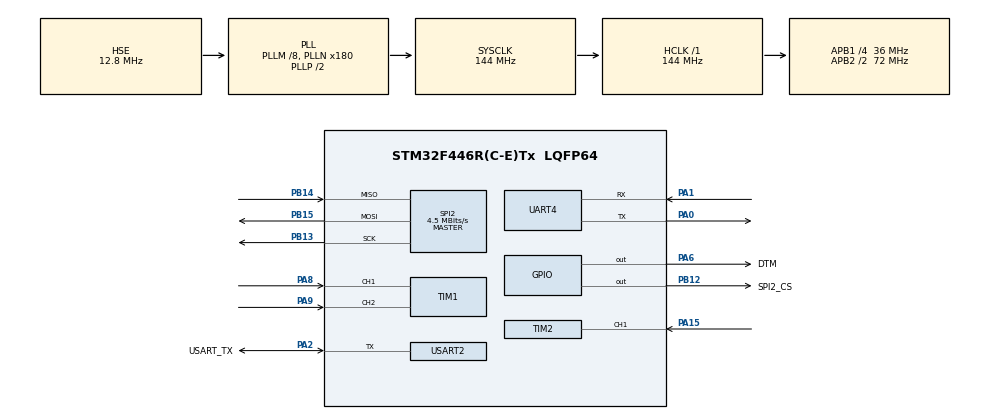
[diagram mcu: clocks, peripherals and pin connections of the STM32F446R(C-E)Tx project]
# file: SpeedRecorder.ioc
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Dma.Request0=TIM2_CH1
Dma.TIM2_CH1.0.Direction=DMA_PERIPH_TO_MEMORY
Dma.TIM2_CH1.0.FIFOMode=DMA_FIFOMODE_DISABLE
Dma.TIM2_CH1.0.Instance=DMA1_Stream5
Dma.TIM2_CH1.0.MemDataAlignment=DMA_MDATAALIGN_WORD
Dma.TIM2_CH1.0.MemInc=DMA_MINC_ENABLE
Dma.TIM2_CH1.0.Mode=DMA_CIRCULAR
Dma.TIM2_CH1.0.PeriphDataAlignment=DMA_PDATAALIGN_WORD
Dma.TIM2_CH1.0.PeriphInc=DMA_PINC_DISABLE
Dma.TIM2_CH1.0.Priority=DMA_PRIORITY_HIGH
Mcu.Family=STM32F4
Mcu.Name=STM32F446R(C-E)Tx
Mcu.Package=LQFP64
NVIC.PriorityGroup=NVIC_PRIORITYGROUP_0
NVIC.TIM1_CC_IRQn=true\:0\:0\:false\:false\:true\:true\:true\:true
NVIC.UART4_IRQn=true\:0\:0\:false\:false\:true\:true\:true\:true
PA0-WKUP.Mode=Asynchronous
PA0-WKUP.Signal=UART4_TX
PA1.Mode=Asynchronous
PA1.Signal=UART4_RX
PA13.GPIO_Label=TMS
PA13.Mode=Serial_Wire
PA13.Signal=SYS_JTMS-SWDIO
PA14.GPIO_Label=TCK
PA14.Mode=Serial_Wire
PA14.Signal=SYS_JTCK-SWCLK
PA15.Signal=S_TIM2_CH1_ETR
PA2.GPIO_Label=USART_TX
PA2.GPIO_PuPd=GPIO_NOPULL
PA2.Mode=Half_duplex(single_wire_mode)
PA2.Signal=USART2_TX
PA3.GPIO_Label=USART_RX
PA3.Signal=USART2_RX
PA6.GPIO_Label=DTM
PA6.Signal=GPIO_Output
PA8.Signal=S_TIM1_CH1
PA9.Signal=S_TIM1_CH2
PB12.GPIO_Label=SPI2_CS
PB12.PinState=GPIO_PIN_SET
PB12.Signal=GPIO_Output
PB13.GPIO_PuPd=GPIO_PULLUP
PB13.GPIO_Speed=GPIO_SPEED_FREQ_VERY_HIGH
PB13.Mode=Full_Duplex_Master
PB13.Signal=SPI2_SCK
PB14.GPIO_PuPd=GPIO_NOPULL
PB14.GPIO_Speed=GPIO_SPEED_FREQ_VERY_HIGH
PB14.Mode=Full_Duplex_Master
PB14.Signal=SPI2_MISO
PB15.GPIO_Speed=GPIO_SPEED_FREQ_VERY_HIGH
PB15.Mode=Full_Duplex_Master
PB15.Signal=SPI2_MOSI
PB3.GPIO_Label=SWO
PB3.Signal=SYS_JTDO-SWO
PH0-OSC_IN.Mode=HSE-External-Clock-Source
PH0-OSC_IN.Signal=RCC_OSC_IN
PH1-OSC_OUT.Mode=HSE-External-Clock-Source
PH1-OSC_OUT.Signal=RCC_OSC_OUT
ProjectManager.HeapSize=0x200
ProjectManager.StackSize=0x400
ProjectManager.TargetToolchain=STM32CubeIDE
RCC.48MHZClocksFreq_Value=84000000
RCC.AHBFreq_Value=144000000
RCC.APB1CLKDivider=RCC_HCLK_DIV4
RCC.APB1Freq_Value=36000000
RCC.APB1TimFreq_Value=72000000
RCC.APB2CLKDivider=RCC_HCLK_DIV2
RCC.APB2Freq_Value=72000000
RCC.APB2TimFreq_Value=144000000
RCC.CortexFreq_Value=144000000
RCC.FLatency-AdvancedSettings=FLASH_LATENCY_4
RCC.HCLKFreq_Value=144000000
RCC.HSE_VALUE=12800000
RCC.HSI_VALUE=16000000
RCC.PLLM=8
RCC.PLLN=180
RCC.PLLSourceVirtual=RCC_PLLSOURCE_HSE
RCC.SYSCLKFreq_VALUE=144000000
RCC.SYSCLKSource=RCC_SYSCLKSOURCE_PLLCLK
RCC.USBFreq_Value=144000000
RCC.VCOOutputFreq_Value=288000000
SH.S_TIM1_CH1.0=TIM1_CH1,Input_Capture1_from_TI1
SH.S_TIM1_CH2.0=TIM1_CH2,Input_Capture2_from_TI2
SH.S_TIM2_CH1_ETR.0=TIM2_CH1,Input_Capture1_from_TI1
SH.S_TIM2_CH1_ETR.1=TIM2_CH1,TriggerSource_TI1FP1
SPI2.BaudRatePrescaler=SPI_BAUDRATEPRESCALER_8
SPI2.CLKPhase=SPI_PHASE_2EDGE
SPI2.CLKPolarity=SPI_POLARITY_HIGH
SPI2.CalculateBaudRate=4.5 MBits/s
SPI2.DataSize=SPI_DATASIZE_8BIT
SPI2.Direction=SPI_DIRECTION_2LINES
SPI2.FirstBit=SPI_FIRSTBIT_MSB
SPI2.Mode=SPI_MODE_MASTER
SPI2.VirtualType=VM_MASTER
TIM1.Channel-Input_Capture1_from_TI1=TIM_CHANNEL_1
TIM1.Channel-Input_Capture2_from_TI2=TIM_CHANNEL_2
TIM2.Channel-Input_Capture1_from_TI1=TIM_CHANNEL_1
TIM2.ICFilter_CH1=0
TIM2.ICPrescaler-Input_Capture1_from_TI1=TIM_ICPSC_DIV1
TIM2.Prescaler=0
UART4.Parity=PARITY_EVEN
UART4.VirtualMode=Asynchronous
UART4.WordLength=WORDLENGTH_9B
USART2.VirtualMode=VM_ASYNC
VP_TIM2_VS_ClockSourceINT.Mode=Internal
VP_TIM2_VS_ControllerModeReset.Mode=Reset Mode
board=NUCLEO-F446RE

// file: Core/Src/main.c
/* USER CODE BEGIN Header */
/**
  ******************************************************************************
  * @file           : main.c
  * @brief          : Takes an input frequency, calculates and records a speed from the frequency, outputs the speed to through UART.
  ******************************************************************************
  * @attention
  *
  * Copyright (c) 2025 STMicroelectronics.
  * All rights reserved.
  *
  * This software is licensed under terms that can be found in the LICENSE file
  * in the root directory of this software component.
  * If no LICENSE file comes with this software, it is provided AS-IS.
  *
  ******************************************************************************
  */
/* USER CODE END Header */
#include "main.h"

/* USER CODE BEGIN Includes */

#include <stdio.h>
/* USER CODE END Includes */

/* USER CODE BEGIN PTD */

//every successive array element is 100ms after the last
uint8_t pastSpeed[36000];

typedef struct{
    char command;

    float curSpeed;
    uint8_t temperature;
    float xyz[3];
    float frequencyMeasured;

    //increment every 100ms
     uint32_t time;
     uint32_t startTime;

}data;

typedef struct{
	//command, datatype, data, checksusm
	uint8_t tx_buff[9];// = {'C', 'D', '1', '2', '3', '4', '5', '6', 'S'};

}message;
/* USER CODE END PTD */

/* USER CODE BEGIN PD */

#define NUMB_CAPTURES 1

#define WAVELENGTH 0.01249135242f
/* USER CODE END PD */

/* USER CODE BEGIN PM */
//#define TIMER_FREQUENCY (HAL_RCC_GetPCLK1Freq()/TIM2->)

/* USER CODE END PM */

SPI_HandleTypeDef hspi2;

TIM_HandleTypeDef htim1;
TIM_HandleTypeDef htim2;
DMA_HandleTypeDef hdma_tim2_ch1;

UART_HandleTypeDef huart4;
UART_HandleTypeDef huart2;

/* USER CODE BEGIN PV */
uint32_t capture[NUMB_CAPTURES];

uint32_t TIMER_FREQUENCY;

float MULTIPLIER = -0.0516;

float avgFrequency;

float meterPerSecond;
uint8_t direction = 1;

uint8_t rx_buff[4];
/* USER CODE END PV */

void SystemClock_Config(void);
static void MX_GPIO_Init(void);
static void MX_DMA_Init(void);
static void MX_USART2_UART_Init(void);
static void MX_TIM2_Init(void);
static void MX_SPI2_Init(void);
static void MX_UART4_Init(void);
static void MX_TIM1_Init(void);

int main(void)
{

  /* USER CODE BEGIN 1 */
	//get the frequency of the timer by dividing the peripheral clock frequency by the timer prescaler

  /* USER CODE END 1 */

  /* MCU Configuration--------------------------------------------------------*/

  /* Reset of all peripherals, Initializes the Flash interface and the Systick. */
  HAL_Init();

  /* Configure the system clock */
  SystemClock_Config();

  /* Initialize all configured peripherals */
  MX_GPIO_Init();
  MX_DMA_Init();
  MX_USART2_UART_Init();
  MX_TIM2_Init();
  MX_SPI2_Init();
  MX_UART4_Init();
  MX_TIM1_Init();
  /* USER CODE BEGIN 2 */
  TIMER_FREQUENCY = ((HAL_RCC_GetPCLK1Freq() * 2) / (TIM2->PSC+1));

  HAL_TIM_IC_Start_DMA(&htim2, TIM_CHANNEL_1, capture, NUMB_CAPTURES);
//  HAL_TIM_IC_Start_IT(&htim1, TIM_CHANNEL_1);
//  HAL_TIM_IC_Start_IT(&htim1, TIM_CHANNEL_2);
  HAL_UART_Receive_IT(&huart4, rx_buff, 4);

  /* USER CODE END 2 */

  /* Infinite loop */
  /* USER CODE BEGIN WHILE */
  while (1)
  {
//HHHHHHHHHHHHHHHHHHHHHHHHHHHHHHHHHHHHHHHHHHHHHHHHHHHHHHHHHHHHHHHHHHHHHHHHHHHHHHHHHHHHHHHHHHHHHHHHHHHHHHHHHHHHHHHHHHHHHHH
//HHHHHHHHHHHHHHHHHHHHHHHHHHHHHHHHHHHHHHHHHHHHHHHHHHHHHHHHHHHHHHHHHHHHHHHHHHHHHHHHHHHHHHHHHHHHHHHHHHHHHHHHHHHHHHHHHHHHHHH
//HHHHHHHHHHHHHHHHHHHHHHHHHHHHHHHHHHHHHHHHHHHHHHHHHHHHHHHHHHHHHHHHHHHHHHHHHHHHHHHHHHHHHHHHHHHHHHHHHHHHHHHHHHHHHHHHHHHHHHH

	  	message currentMessage = {
	  		.tx_buff = {'C', 'D', '1', '2', '3', '4', '5', '6', 'S'}
	  	};

		//floatToCharArr(speedCalc(getFreq(capture)),  currentMessage.tx_buff);
		floatToCharArr(getFreq(capture),  currentMessage.tx_buff);

		HAL_UART_Transmit(&huart4,  currentMessage.tx_buff, 9, 1000);
		HAL_Delay(1000);
		//avgFrequency = getFreq(capture);

    /* USER CODE END WHILE */

  }
}

void SystemClock_Config(void)
{
  RCC_OscInitTypeDef RCC_OscInitStruct = {0};
  RCC_ClkInitTypeDef RCC_ClkInitStruct = {0};

  /** Configure the main internal regulator output voltage
  */
  __HAL_RCC_PWR_CLK_ENABLE();
  __HAL_PWR_VOLTAGESCALING_CONFIG(PWR_REGULATOR_VOLTAGE_SCALE1);

  /** Initializes the RCC Oscillators according to the specified parameters
  * in the RCC_OscInitTypeDef structure.
  */
  RCC_OscInitStruct.OscillatorType = RCC_OSCILLATORTYPE_HSE;
  RCC_OscInitStruct.HSEState = RCC_HSE_BYPASS;
  RCC_OscInitStruct.PLL.PLLState = RCC_PLL_ON;
  RCC_OscInitStruct.PLL.PLLSource = RCC_PLLSOURCE_HSE;
  RCC_OscInitStruct.PLL.PLLM = 8;
  RCC_OscInitStruct.PLL.PLLN = 180;
  RCC_OscInitStruct.PLL.PLLP = RCC_PLLP_DIV2;
  RCC_OscInitStruct.PLL.PLLQ = 2;
  RCC_OscInitStruct.PLL.PLLR = 2;
  if (HAL_RCC_OscConfig(&RCC_OscInitStruct) != HAL_OK)
  {
    Error_Handler();
  }

  /** Initializes the CPU, AHB and APB buses clocks
  */
  RCC_ClkInitStruct.ClockType = RCC_CLOCKTYPE_HCLK|RCC_CLOCKTYPE_SYSCLK
                              |RCC_CLOCKTYPE_PCLK1|RCC_CLOCKTYPE_PCLK2;
  RCC_ClkInitStruct.SYSCLKSource = RCC_SYSCLKSOURCE_PLLCLK;
  RCC_ClkInitStruct.AHBCLKDivider = RCC_SYSCLK_DIV1;
  RCC_ClkInitStruct.APB1CLKDivider = RCC_HCLK_DIV4;
  RCC_ClkInitStruct.APB2CLKDivider = RCC_HCLK_DIV2;

  if (HAL_RCC_ClockConfig(&RCC_ClkInitStruct, FLASH_LATENCY_4) != HAL_OK)
  {
    Error_Handler();
  }
}

static void MX_SPI2_Init(void)
{

  /* SPI2 parameter configuration*/
  hspi2.Instance = SPI2;
  hspi2.Init.Mode = SPI_MODE_MASTER;
  hspi2.Init.Direction = SPI_DIRECTION_2LINES;
  hspi2.Init.DataSize = SPI_DATASIZE_8BIT;
  hspi2.Init.CLKPolarity = SPI_POLARITY_HIGH;
  hspi2.Init.CLKPhase = SPI_PHASE_2EDGE;
  hspi2.Init.NSS = SPI_NSS_SOFT;
  hspi2.Init.BaudRatePrescaler = SPI_BAUDRATEPRESCALER_8;
  hspi2.Init.FirstBit = SPI_FIRSTBIT_MSB;
  hspi2.Init.TIMode = SPI_TIMODE_DISABLE;
  hspi2.Init.CRCCalculation = SPI_CRCCALCULATION_DISABLE;
  hspi2.Init.CRCPolynomial = 10;
  if (HAL_SPI_Init(&hspi2) != HAL_OK)
  {
    Error_Handler();
  }

}

static void MX_TIM1_Init(void)
{

  TIM_MasterConfigTypeDef sMasterConfig = {0};
  TIM_IC_InitTypeDef sConfigIC = {0};

  htim1.Instance = TIM1;
  htim1.Init.Prescaler = 0;
  htim1.Init.CounterMode = TIM_COUNTERMODE_UP;
  htim1.Init.Period = 65535;
  htim1.Init.ClockDivision = TIM_CLOCKDIVISION_DIV1;
  htim1.Init.RepetitionCounter = 0;
  htim1.Init.AutoReloadPreload = TIM_AUTORELOAD_PRELOAD_DISABLE;
  if (HAL_TIM_IC_Init(&htim1) != HAL_OK)
  {
    Error_Handler();
  }
  sMasterConfig.MasterOutputTrigger = TIM_TRGO_RESET;
  sMasterConfig.MasterSlaveMode = TIM_MASTERSLAVEMODE_DISABLE;
  if (HAL_TIMEx_MasterConfigSynchronization(&htim1, &sMasterConfig) != HAL_OK)
  {
    Error_Handler();
  }
  sConfigIC.ICPolarity = TIM_INPUTCHANNELPOLARITY_RISING;
  sConfigIC.ICSelection = TIM_ICSELECTION_DIRECTTI;
  sConfigIC.ICPrescaler = TIM_ICPSC_DIV1;
  sConfigIC.ICFilter = 0;
  if (HAL_TIM_IC_ConfigChannel(&htim1, &sConfigIC, TIM_CHANNEL_1) != HAL_OK)
  {
    Error_Handler();
  }
  if (HAL_TIM_IC_ConfigChannel(&htim1, &sConfigIC, TIM_CHANNEL_2) != HAL_OK)
  {
    Error_Handler();
  }

}

static void MX_TIM2_Init(void)
{

  TIM_ClockConfigTypeDef sClockSourceConfig = {0};
  TIM_SlaveConfigTypeDef sSlaveConfig = {0};
  TIM_MasterConfigTypeDef sMasterConfig = {0};
  TIM_IC_InitTypeDef sConfigIC = {0};

  htim2.Instance = TIM2;
  htim2.Init.Prescaler = 0;
  htim2.Init.CounterMode = TIM_COUNTERMODE_UP;
  htim2.Init.Period = 4294967295;
  htim2.Init.ClockDivision = TIM_CLOCKDIVISION_DIV1;
  htim2.Init.AutoReloadPreload = TIM_AUTORELOAD_PRELOAD_DISABLE;
  if (HAL_TIM_Base_Init(&htim2) != HAL_OK)
  {
    Error_Handler();
  }
  sClockSourceConfig.ClockSource = TIM_CLOCKSOURCE_INTERNAL;
  if (HAL_TIM_ConfigClockSource(&htim2, &sClockSourceConfig) != HAL_OK)
  {
    Error_Handler();
  }
  if (HAL_TIM_IC_Init(&htim2) != HAL_OK)
  {
    Error_Handler();
  }
  sSlaveConfig.SlaveMode = TIM_SLAVEMODE_RESET;
  sSlaveConfig.InputTrigger = TIM_TS_TI1FP1;
  sSlaveConfig.TriggerPolarity = TIM_INPUTCHANNELPOLARITY_RISING;
  sSlaveConfig.TriggerFilter = 0;
  if (HAL_TIM_SlaveConfigSynchro(&htim2, &sSlaveConfig) != HAL_OK)
  {
    Error_Handler();
  }
  sMasterConfig.MasterOutputTrigger = TIM_TRGO_RESET;
  sMasterConfig.MasterSlaveMode = TIM_MASTERSLAVEMODE_DISABLE;
  if (HAL_TIMEx_MasterConfigSynchronization(&htim2, &sMasterConfig) != HAL_OK)
  {
    Error_Handler();
  }
  sConfigIC.ICPolarity = TIM_INPUTCHANNELPOLARITY_RISING;
  sConfigIC.ICSelection = TIM_ICSELECTION_DIRECTTI;
  sConfigIC.ICPrescaler = TIM_ICPSC_DIV1;
  sConfigIC.ICFilter = 0;
  if (HAL_TIM_IC_ConfigChannel(&htim2, &sConfigIC, TIM_CHANNEL_1) != HAL_OK)
  {
    Error_Handler();
  }

}

static void MX_UART4_Init(void)
{

  huart4.Instance = UART4;
  huart4.Init.BaudRate = 115200;
  huart4.Init.WordLength = UART_WORDLENGTH_9B;
  huart4.Init.StopBits = UART_STOPBITS_1;
  huart4.Init.Parity = UART_PARITY_EVEN;
  huart4.Init.Mode = UART_MODE_TX_RX;
  huart4.Init.HwFlowCtl = UART_HWCONTROL_NONE;
  huart4.Init.OverSampling = UART_OVERSAMPLING_16;
  if (HAL_UART_Init(&huart4) != HAL_OK)
  {
    Error_Handler();
  }

}

static void MX_USART2_UART_Init(void)
{

  huart2.Instance = USART2;
  huart2.Init.BaudRate = 115200;
  huart2.Init.WordLength = UART_WORDLENGTH_8B;
  huart2.Init.StopBits = UART_STOPBITS_1;
  huart2.Init.Parity = UART_PARITY_NONE;
  huart2.Init.Mode = UART_MODE_TX_RX;
  huart2.Init.HwFlowCtl = UART_HWCONTROL_NONE;
  huart2.Init.OverSampling = UART_OVERSAMPLING_16;
  if (HAL_HalfDuplex_Init(&huart2) != HAL_OK)
  {
    Error_Handler();
  }

}

static void MX_DMA_Init(void)
{

  /* DMA controller clock enable */
  __HAL_RCC_DMA1_CLK_ENABLE();

}

static void MX_GPIO_Init(void)
{
  GPIO_InitTypeDef GPIO_InitStruct = {0};

  /* GPIO Ports Clock Enable */
  __HAL_RCC_GPIOH_CLK_ENABLE();
  __HAL_RCC_GPIOA_CLK_ENABLE();
  __HAL_RCC_GPIOB_CLK_ENABLE();

  /*Configure GPIO pin Output Level */
  HAL_GPIO_WritePin(DTM_GPIO_Port, DTM_Pin, GPIO_PIN_RESET);

  /*Configure GPIO pin Output Level */
  HAL_GPIO_WritePin(SPI2_CS_GPIO_Port, SPI2_CS_Pin, GPIO_PIN_SET);

  /*Configure GPIO pin : DTM_Pin */
  GPIO_InitStruct.Pin = DTM_Pin;
  GPIO_InitStruct.Mode = GPIO_MODE_OUTPUT_PP;
  GPIO_InitStruct.Pull = GPIO_NOPULL;
  GPIO_InitStruct.Speed = GPIO_SPEED_FREQ_LOW;
  HAL_GPIO_Init(DTM_GPIO_Port, &GPIO_InitStruct);

  /*Configure GPIO pin : SPI2_CS_Pin */
  GPIO_InitStruct.Pin = SPI2_CS_Pin;
  GPIO_InitStruct.Mode = GPIO_MODE_OUTPUT_PP;
  GPIO_InitStruct.Pull = GPIO_NOPULL;
  GPIO_InitStruct.Speed = GPIO_SPEED_FREQ_LOW;
  HAL_GPIO_Init(SPI2_CS_GPIO_Port, &GPIO_InitStruct);

}

/* USER CODE BEGIN 4 */
int __io_putchar(int ch){
	ITM_SendChar(ch);
	return 0;
}

float getFreq(uint32_t* captureTimes){

	float average = 0;

	for(uint8_t i = 0; i<NUMB_CAPTURES; i++){
		average+=captureTimes[i];
	}

	return (float)TIMER_FREQUENCY / ((average /* - (average*MULTIPLIER)*/) / (float)NUMB_CAPTURES);

}

float speedCalc(float frequencyShift){
	return (frequencyShift/2) * WAVELENGTH;
}

void floatToCharArr(float num, uint8_t *buff){

	num *=(float)1000;
	uint16_t intNum = (int)num;
	uint8_t dig = 0;

	uint8_t spot = 7;

	for(uint32_t i = 10; i<=1000000; i*=10){
		dig = (intNum % i) / (i/10);
		buff[spot] = dig | (~dig) << 4;

		spot--;
	}
}

float tempRead(){
 return 0;
}

void oneWireTx(){

}

void oneWireRx(){

}

void HAL_UART_RxCpltCallback(UART_HandleTypeDef *huart)
{

    HAL_UART_Receive_IT(&huart4, rx_buff, 4);
}

void HAL_TIM_IC_CaptureCallback(TIM_HandleTypeDef *htim){
	direction = htim->Channel == HAL_TIM_ACTIVE_CHANNEL_1 ? 1 : -1;
}

/* USER CODE END 4 */

void Error_Handler(void)
{
  __disable_irq();
  while (1)
  {
  }
}
